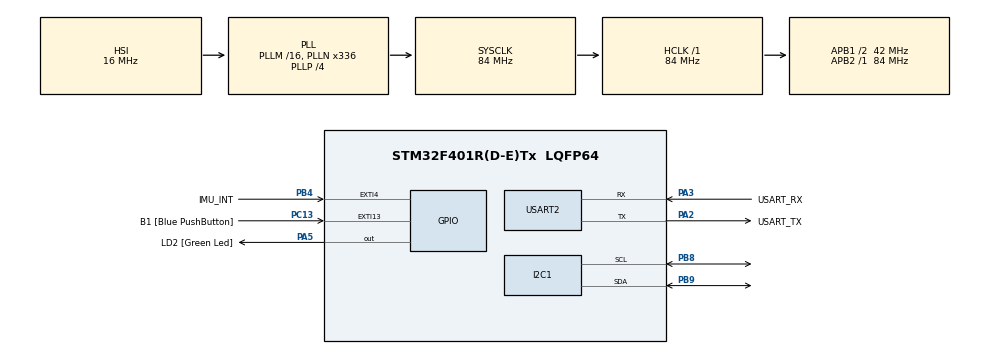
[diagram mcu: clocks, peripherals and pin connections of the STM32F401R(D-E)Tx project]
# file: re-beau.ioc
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Mcu.Family=STM32F4
Mcu.Name=STM32F401R(D-E)Tx
Mcu.Package=LQFP64
NVIC.EXTI4_IRQn=true\:0\:0\:false\:false\:true\:true\:true\:true
NVIC.PriorityGroup=NVIC_PRIORITYGROUP_0
PA13.GPIO_Label=TMS
PA13.Mode=Serial_Wire
PA13.Signal=SYS_JTMS-SWDIO
PA14.GPIO_Label=TCK
PA14.Mode=Serial_Wire
PA14.Signal=SYS_JTCK-SWCLK
PA2.GPIO_Label=USART_TX
PA2.GPIO_Mode=GPIO_MODE_AF_PP
PA2.GPIO_PuPd=GPIO_NOPULL
PA2.GPIO_Speed=GPIO_SPEED_FREQ_LOW
PA2.Mode=Asynchronous
PA2.Signal=USART2_TX
PA3.GPIO_Label=USART_RX
PA3.GPIO_Mode=GPIO_MODE_AF_PP
PA3.GPIO_PuPd=GPIO_NOPULL
PA3.GPIO_Speed=GPIO_SPEED_FREQ_LOW
PA3.Mode=Asynchronous
PA3.Signal=USART2_RX
PA5.GPIO_Label=LD2 [Green Led]
PA5.GPIO_Mode=GPIO_MODE_OUTPUT_PP
PA5.GPIO_PuPd=GPIO_NOPULL
PA5.GPIO_Speed=GPIO_SPEED_FREQ_LOW
PA5.Signal=GPIO_Output
PB3.GPIO_Label=SWO
PB3.Signal=SYS_JTDO-SWO
PB4.GPIO_Label=IMU_INT
PB4.GPIO_PuPd=GPIO_PULLDOWN
PB4.Signal=GPXTI4
PB8.Mode=I2C
PB8.Signal=I2C1_SCL
PB9.Mode=I2C
PB9.Signal=I2C1_SDA
PC13-ANTI_TAMP.GPIO_Label=B1 [Blue PushButton]
PC13-ANTI_TAMP.GPIO_ModeDefaultEXTI=GPIO_MODE_IT_FALLING
PC13-ANTI_TAMP.GPIO_PuPd=GPIO_NOPULL
PC13-ANTI_TAMP.Signal=GPXTI13
PC14-OSC32_IN.Mode=LSE-External-Oscillator
PC14-OSC32_IN.Signal=RCC_OSC32_IN
PC15-OSC32_OUT.Mode=LSE-External-Oscillator
PC15-OSC32_OUT.Signal=RCC_OSC32_OUT
PH0\ -\ OSC_IN.Mode=HSE-External-Clock-Source
PH0\ -\ OSC_IN.Signal=RCC_OSC_IN
PH1\ -\ OSC_OUT.Mode=HSE-External-Clock-Source
PH1\ -\ OSC_OUT.Signal=RCC_OSC_OUT
ProjectManager.HeapSize=0x200
ProjectManager.StackSize=0x400
ProjectManager.TargetToolchain=Makefile
RCC.48MHZClocksFreq_Value=48000000
RCC.AHBFreq_Value=84000000
RCC.APB1CLKDivider=RCC_HCLK_DIV2
RCC.APB1Freq_Value=42000000
RCC.APB1TimFreq_Value=84000000
RCC.APB2Freq_Value=84000000
RCC.APB2TimFreq_Value=84000000
RCC.CortexFreq_Value=84000000
RCC.HCLKFreq_Value=84000000
RCC.HSE_VALUE=8000000
RCC.HSI_VALUE=16000000
RCC.PLLN=336
RCC.PLLP=RCC_PLLP_DIV4
RCC.PLLQ=7
RCC.SYSCLKFreq_VALUE=84000000
RCC.SYSCLKSource=RCC_SYSCLKSOURCE_PLLCLK
RCC.VCOOutputFreq_Value=336000000
USART2.VirtualMode=VM_ASYNC
board=NUCLEO-F401RE

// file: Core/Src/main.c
/* USER CODE BEGIN Header */
/**
 ******************************************************************************
 * @file           : main.c
 * @brief          : Main program body
 ******************************************************************************
 * @attention
 *
 * Copyright (c) 2023 STMicroelectronics.
 * All rights reserved.
 *
 * This software is licensed under terms that can be found in the LICENSE file
 * in the root directory of this software component.
 * If no LICENSE file comes with this software, it is provided AS-IS.
 *
 ******************************************************************************
 */
/* USER CODE END Header */
#include "main.h"

/* USER CODE BEGIN Includes */
#include <stdio.h>

/* USER CODE END Includes */

I2C_HandleTypeDef hi2c1;

UART_HandleTypeDef huart2;

void SystemClock_Config(void);
static void MX_GPIO_Init(void);
static void MX_USART2_UART_Init(void);
static void MX_I2C1_Init(void);

/* USER CODE BEGIN 0 */

int _write(int fd, char *ptr, int len)
{
  HAL_UART_Transmit(&huart2, (const uint8_t *)ptr, len, HAL_MAX_DELAY);
  return len;
}

volatile int process = 0;
void kalman_process();

void HAL_GPIO_EXTI_Callback(uint16_t GPIO_Pin)
{
  if (GPIO_Pin == IMU_INT_Pin)
  {
      if (process == 0)
          return;
      kalman_process();
  }
}

/* USER CODE END 0 */

int main(void)
{

  /* MCU Configuration--------------------------------------------------------*/

  /* Reset of all peripherals, Initializes the Flash interface and the Systick. */
  HAL_Init();

  /* Configure the system clock */
  SystemClock_Config();

  /* Initialize all configured peripherals */
  MX_GPIO_Init();
  MX_USART2_UART_Init();
  MX_I2C1_Init();
  /* USER CODE BEGIN 2 */
  // Init the I2C device
  HAL_StatusTypeDef ret = HAL_I2C_IsDeviceReady(&hi2c1, IMU_ADR_WRITE, 1, HAL_MAX_DELAY);
  if (ret != HAL_OK) printf("Failed to init device!\n");

  // Set the gyroscope scale range to +/-250 deg/s
  // Register 27 (see register map p14)
  uint8_t data = 0;
  ret = HAL_I2C_Mem_Write(&hi2c1, IMU_ADR_WRITE, 27, 1, &data, 1, HAL_MAX_DELAY);
  if (ret != HAL_OK) printf("Failed to setup gyroscope range!\n");

  // Set the accelerometer scale range to +/-2G deg/s
  // Register 28 (see register map p15)
  data = 0;
  ret = HAL_I2C_Mem_Write(&hi2c1, IMU_ADR_WRITE, 28, 1, &data, 1, HAL_MAX_DELAY);
  if (ret != HAL_OK) printf("Failed to setup accelerometer range!\n");

  // Exit sleep mode / Wake up the device. We won't receive any data when it is in sleep mode.
  // Register 107 (see register map p40)
  data = 0;
  ret = HAL_I2C_Mem_Write(&hi2c1, IMU_ADR_WRITE, 107, 1, &data, 1, HAL_MAX_DELAY);
  if (ret != HAL_OK) printf("Failed to wake up the device!\n");

  data = 0;
  ret = HAL_I2C_Mem_Read(&hi2c1, IMU_ADR_READ, 26, 1, &data, 1, HAL_MAX_DELAY);
  if (ret != HAL_OK) printf("Failed to read device config!\n");
  data = (data & 0b11111000) | 0b0001;
  ret = HAL_I2C_Mem_Write(&hi2c1, IMU_ADR_WRITE, 26, 1, &data, 1, HAL_MAX_DELAY);
  if (ret != HAL_OK) printf("Failed to write device config!\n");

  data = 19;
  ret = HAL_I2C_Mem_Write(&hi2c1, IMU_ADR_WRITE, 25, 1, &data, 1, HAL_MAX_DELAY);
  if (ret != HAL_OK) printf("Failed to set sample freq!\n");

  data = 0;
  ret = HAL_I2C_Mem_Write(&hi2c1, IMU_ADR_WRITE, 55, 1, &data, 1, HAL_MAX_DELAY);
  if (ret != HAL_OK) printf("Failed to setup interupt!\n");

  data = 0b0001;
  ret = HAL_I2C_Mem_Write(&hi2c1, IMU_ADR_WRITE, 56, 1, &data, 1, HAL_MAX_DELAY);
  if (ret != HAL_OK) printf("Failed to setup interupt!\n");

  data = (1 << 6) | (1 << 2);
  ret = HAL_I2C_Mem_Write(&hi2c1, IMU_ADR_WRITE, 106, 1, &data, 1, HAL_MAX_DELAY);
  if (ret != HAL_OK) printf("Failed to setup FIFO!\n");

  data = (1 << 6) | (1 << 5) | (1 << 4) | (1 << 3);
  ret = HAL_I2C_Mem_Write(&hi2c1, IMU_ADR_WRITE, 35, 1, &data, 1, HAL_MAX_DELAY);
  if (ret != HAL_OK) printf("Failed to setup FIFO!\n");

  printf("MPU6050 Initialized correctly\n");
  // Little delay in case the MPU need to do some work before being able to receive data
  HAL_Delay(15);

  process = 1;

  /* USER CODE END 2 */

  /* Infinite loop */
  /* USER CODE BEGIN WHILE */
    while (1)
    {
        HAL_GPIO_TogglePin(LD2_GPIO_Port, LD2_Pin);
        HAL_Delay(75);
    /* USER CODE END WHILE */

    }
}

void SystemClock_Config(void)
{
  RCC_OscInitTypeDef RCC_OscInitStruct = {0};
  RCC_ClkInitTypeDef RCC_ClkInitStruct = {0};

  /** Configure the main internal regulator output voltage
  */
  __HAL_RCC_PWR_CLK_ENABLE();
  __HAL_PWR_VOLTAGESCALING_CONFIG(PWR_REGULATOR_VOLTAGE_SCALE2);

  /** Initializes the RCC Oscillators according to the specified parameters
  * in the RCC_OscInitTypeDef structure.
  */
  RCC_OscInitStruct.OscillatorType = RCC_OSCILLATORTYPE_HSI;
  RCC_OscInitStruct.HSIState = RCC_HSI_ON;
  RCC_OscInitStruct.HSICalibrationValue = RCC_HSICALIBRATION_DEFAULT;
  RCC_OscInitStruct.PLL.PLLState = RCC_PLL_ON;
  RCC_OscInitStruct.PLL.PLLSource = RCC_PLLSOURCE_HSI;
  RCC_OscInitStruct.PLL.PLLM = 16;
  RCC_OscInitStruct.PLL.PLLN = 336;
  RCC_OscInitStruct.PLL.PLLP = RCC_PLLP_DIV4;
  RCC_OscInitStruct.PLL.PLLQ = 7;
  if (HAL_RCC_OscConfig(&RCC_OscInitStruct) != HAL_OK)
  {
    Error_Handler();
  }

  /** Initializes the CPU, AHB and APB buses clocks
  */
  RCC_ClkInitStruct.ClockType = RCC_CLOCKTYPE_HCLK|RCC_CLOCKTYPE_SYSCLK
                              |RCC_CLOCKTYPE_PCLK1|RCC_CLOCKTYPE_PCLK2;
  RCC_ClkInitStruct.SYSCLKSource = RCC_SYSCLKSOURCE_PLLCLK;
  RCC_ClkInitStruct.AHBCLKDivider = RCC_SYSCLK_DIV1;
  RCC_ClkInitStruct.APB1CLKDivider = RCC_HCLK_DIV2;
  RCC_ClkInitStruct.APB2CLKDivider = RCC_HCLK_DIV1;

  if (HAL_RCC_ClockConfig(&RCC_ClkInitStruct, FLASH_LATENCY_2) != HAL_OK)
  {
    Error_Handler();
  }
}

static void MX_I2C1_Init(void)
{

  hi2c1.Instance = I2C1;
  hi2c1.Init.ClockSpeed = 100000;
  hi2c1.Init.DutyCycle = I2C_DUTYCYCLE_2;
  hi2c1.Init.OwnAddress1 = 0;
  hi2c1.Init.AddressingMode = I2C_ADDRESSINGMODE_7BIT;
  hi2c1.Init.DualAddressMode = I2C_DUALADDRESS_DISABLE;
  hi2c1.Init.OwnAddress2 = 0;
  hi2c1.Init.GeneralCallMode = I2C_GENERALCALL_DISABLE;
  hi2c1.Init.NoStretchMode = I2C_NOSTRETCH_DISABLE;
  if (HAL_I2C_Init(&hi2c1) != HAL_OK)
  {
    Error_Handler();
  }

}

static void MX_USART2_UART_Init(void)
{

  huart2.Instance = USART2;
  huart2.Init.BaudRate = 115200;
  huart2.Init.WordLength = UART_WORDLENGTH_8B;
  huart2.Init.StopBits = UART_STOPBITS_1;
  huart2.Init.Parity = UART_PARITY_NONE;
  huart2.Init.Mode = UART_MODE_TX_RX;
  huart2.Init.HwFlowCtl = UART_HWCONTROL_NONE;
  huart2.Init.OverSampling = UART_OVERSAMPLING_16;
  if (HAL_UART_Init(&huart2) != HAL_OK)
  {
    Error_Handler();
  }

}

static void MX_GPIO_Init(void)
{
  GPIO_InitTypeDef GPIO_InitStruct = {0};

  /* GPIO Ports Clock Enable */
  __HAL_RCC_GPIOC_CLK_ENABLE();
  __HAL_RCC_GPIOH_CLK_ENABLE();
  __HAL_RCC_GPIOA_CLK_ENABLE();
  __HAL_RCC_GPIOB_CLK_ENABLE();

  /*Configure GPIO pin Output Level */
  HAL_GPIO_WritePin(LD2_GPIO_Port, LD2_Pin, GPIO_PIN_RESET);

  /*Configure GPIO pin : B1_Pin */
  GPIO_InitStruct.Pin = B1_Pin;
  GPIO_InitStruct.Mode = GPIO_MODE_IT_FALLING;
  GPIO_InitStruct.Pull = GPIO_NOPULL;
  HAL_GPIO_Init(B1_GPIO_Port, &GPIO_InitStruct);

  /*Configure GPIO pin : LD2_Pin */
  GPIO_InitStruct.Pin = LD2_Pin;
  GPIO_InitStruct.Mode = GPIO_MODE_OUTPUT_PP;
  GPIO_InitStruct.Pull = GPIO_NOPULL;
  GPIO_InitStruct.Speed = GPIO_SPEED_FREQ_LOW;
  HAL_GPIO_Init(LD2_GPIO_Port, &GPIO_InitStruct);

  /*Configure GPIO pin : IMU_INT_Pin */
  GPIO_InitStruct.Pin = IMU_INT_Pin;
  GPIO_InitStruct.Mode = GPIO_MODE_IT_RISING;
  GPIO_InitStruct.Pull = GPIO_PULLDOWN;
  HAL_GPIO_Init(IMU_INT_GPIO_Port, &GPIO_InitStruct);

  /* EXTI interrupt init*/
  HAL_NVIC_SetPriority(EXTI4_IRQn, 0, 0);
  HAL_NVIC_EnableIRQ(EXTI4_IRQn);

}

void Error_Handler(void)
{
  /* USER CODE BEGIN Error_Handler_Debug */
    /* User can add his own implementation to report the HAL error return state
     */
    __disable_irq();
    while (1)
    {
    }
  /* USER CODE END Error_Handler_Debug */
}

#ifdef  USE_FULL_ASSERT
/**
  * @brief  Reports the name of the source file and the source line number
  *         where the assert_param error has occurred.
  * @param  file: pointer to the source file name
  * @param  line: assert_param error line source number
  * @retval None
  */
void assert_failed(uint8_t *file, uint32_t line)
{
  /* USER CODE BEGIN 6 */
    /* User can add his own implementation to report the file name and line
       number, ex: printf("Wrong parameters value: file %s on line %d\r\n",
       file, line) */
  /* USER CODE END 6 */
}
#endif /* USE_FULL_ASSERT */
